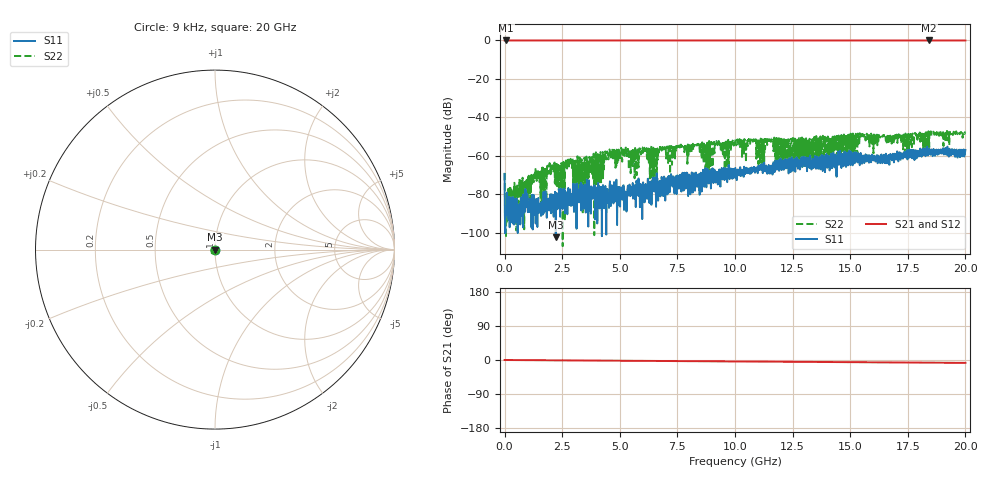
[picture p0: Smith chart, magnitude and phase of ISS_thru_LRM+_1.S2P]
!  2-Port S-parameters saved by WinCal
! VAR MeasName=S-Parameters (CALIBRATED_DATA) read from VNA (P5004A)
! VAR MeasDate=26/04/2024 15:49:39
! VAR NAME=ISS_thru_LRM+
! VAR FILENAME=ISS_thru_LRM+_1.S2P
! VAR DATE=26/04/2024 15:49:39
! VAR PHYS_PORTS=1,2
! VAR ObjTypeName=DATASET
! VAR IndexType=Frequency
# Hz S MA R 50
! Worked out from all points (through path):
!   2000 points, 9 kHz to 20 GHz, reference 50 ohm
!   highest |S21| = 0.00 dB at 70.04 MHz (marker M1); lowest = 0.0 dB at 18.43 GHz (marker M2)
!   group delay of S21, straight-line fit = 1.05 ps
!   lowest |S11| = -102.4 dB at 2.221 GHz (marker M3), VSWR 1.00, Z = 50 - j0.000756 ohm
!   |S11| at or under -10 dB: start of sweep to end of sweep
!   |S22| runs from -107.1 to -46.7 dB; largest |S21 - S12| = 0.0011
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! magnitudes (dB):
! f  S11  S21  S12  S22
! 9 kHz  -69.5  0.0  0.0  -68.9
! 70.04 MHz  -89.0  0.0  0.0  -88.7
! 540.3 MHz  -90.5  0.0  0.0  -78.0
! 1.371 GHz  -91.0  0.0  0.0  -68.8
! 2.221 GHz  -102.4  0.0  0.0  -75.0
! 2.531 GHz  -82.7  0.0  0.0  -74.9
! 2.851 GHz  -79.7  0.0  0.0  -62.4
! 3.342 GHz  -81.1  0.0  0.0  -61.8
! 4.572 GHz  -73.3  0.0  0.0  -57.5
! 6.063 GHz  -79.5  0.0  0.0  -55.8
! 6.393 GHz  -73.5  0.0  0.0  -77.4
! 6.673 GHz  -79.3  0.0  0.0  -55.7
! 8.354 GHz  -74.1  0.0  0.0  -54.0
! 8.844 GHz  -71.6  0.0  0.0  -64.0
! 10.01 GHz  -66.6  0.0  0.0  -51.3
! 11.18 GHz  -64.4  0.0  0.0  -62.2
! 11.56 GHz  -65.4  0.0  0.0  -52.8
! 13.34 GHz  -63.5  0.0  0.0  -62.1
! 15.51 GHz  -64.0  0.0  0.0  -48.9
! 16.67 GHz  -59.8  0.0  0.0  -52.9
! 18.43 GHz  -56.2  0.0  0.0  -55.6
! 20 GHz  -57.0  0.0  0.0  -47.7
